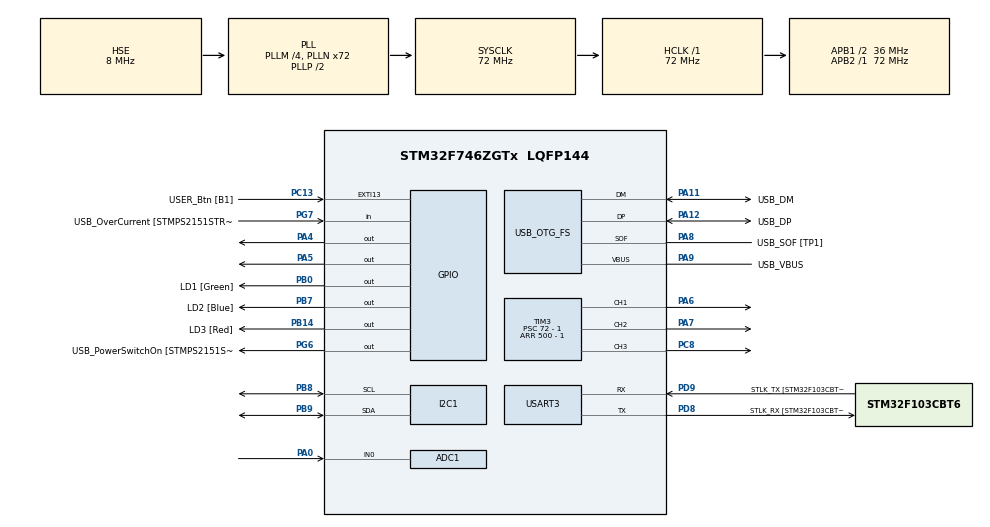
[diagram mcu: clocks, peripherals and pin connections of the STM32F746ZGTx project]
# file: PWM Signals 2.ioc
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ADC1.Channel-1\#ChannelRegularConversion=ADC_CHANNEL_0
ADC1.ContinuousConvMode=DISABLE
ADC1.NbrOfConversion=1
ADC1.NbrOfConversionFlag=1
ADC1.Rank-1\#ChannelRegularConversion=1
ADC1.SamplingTime-1\#ChannelRegularConversion=ADC_SAMPLETIME_3CYCLES
ADC1.master=1
I2C1.Timing=0x00808CD2
Mcu.Family=STM32F7
Mcu.Name=STM32F746ZGTx
Mcu.Package=LQFP144
NVIC.ADC_IRQn=true\:0\:0\:false\:false\:true\:true\:true\:true
NVIC.PriorityGroup=NVIC_PRIORITYGROUP_4
NVIC.TIM8_TRG_COM_TIM14_IRQn=true\:0\:0\:false\:false\:true\:true\:true\:true
PA0/WKUP.Signal=ADCx_IN0
PA1.GPIO_Label=RMII_REF_CLK [LAN8742A-CZ-TR_REFCLK0]
PA1.Signal=ETH_REF_CLK
PA10.GPIO_Label=USB_ID
PA10.Signal=USB_OTG_FS_ID
PA11.GPIO_Label=USB_DM
PA11.Mode=Device_Only
PA11.Signal=USB_OTG_FS_DM
PA12.GPIO_Label=USB_DP
PA12.Mode=Device_Only
PA12.Signal=USB_OTG_FS_DP
PA13.GPIO_Label=TMS
PA13.Mode=Serial_Wire
PA13.Signal=SYS_JTMS-SWDIO
PA14.GPIO_Label=TCK
PA14.Mode=Serial_Wire
PA14.Signal=SYS_JTCK-SWCLK
PA2.GPIO_Label=RMII_MDIO [LAN8742A-CZ-TR_MDIO]
PA2.Signal=ETH_MDIO
PA4.Signal=GPIO_Output
PA5.Signal=GPIO_Output
PA6.Signal=S_TIM3_CH1
PA7.Signal=S_TIM3_CH2
PA8.GPIO_Label=USB_SOF [TP1]
PA8.Mode=Activate_SOF_FS
PA8.Signal=USB_OTG_FS_SOF
PA9.GPIO_Label=USB_VBUS
PA9.Mode=Activate_VBUS
PA9.Signal=USB_OTG_FS_VBUS
PB0.GPIO_Label=LD1 [Green]
PB0.Signal=GPIO_Output
PB13.GPIO_Label=RMII_TXD1 [LAN8742A-CZ-TR_TXD1]
PB13.Signal=ETH_TXD1
PB14.GPIO_Label=LD3 [Red]
PB14.Signal=GPIO_Output
PB3.GPIO_Label=SW0
PB3.Signal=SYS_JTDO-SWO
PB7.GPIO_Label=LD2 [Blue]
PB7.Signal=GPIO_Output
PB8.Mode=I2C
PB8.Signal=I2C1_SCL
PB9.Mode=I2C
PB9.Signal=I2C1_SDA
PC1.GPIO_Label=RMII_MDC [LAN8742A-CZ-TR_MDC]
PC1.Signal=ETH_MDC
PC13.GPIO_Label=USER_Btn [B1]
PC13.Signal=GPXTI13
PC14/OSC32_IN.Mode=LSE-External-Oscillator
PC14/OSC32_IN.Signal=RCC_OSC32_IN
PC15/OSC32_OUT.Mode=LSE-External-Oscillator
PC15/OSC32_OUT.Signal=RCC_OSC32_OUT
PC4.GPIO_Label=RMII_RXD0 [LAN8742A-CZ-TR_RXD0]
PC4.Signal=ETH_RXD0
PC5.GPIO_Label=RMII_RXD1 [LAN8742A-CZ-TR_RXD1]
PC5.Signal=ETH_RXD1
PC8.Signal=S_TIM3_CH3
PD8.GPIO_Label=STLK_RX [STM32F103CBT6_PA3]
PD8.GPIO_PuPd=GPIO_PULLUP
PD8.Mode=Asynchronous
PD8.Signal=USART3_TX
PD9.GPIO_Label=STLK_TX [STM32F103CBT6_PA2]
PD9.GPIO_PuPd=GPIO_PULLUP
PD9.Mode=Asynchronous
PD9.Signal=USART3_RX
PG11.GPIO_Label=RMII_TX_EN [LAN8742A-CZ-TR_TXEN]
PG11.Signal=ETH_TX_EN
PG13.GPIO_Label=RMII_TXD0 [LAN8742A-CZ-TR_TXD0]
PG13.Signal=ETH_TXD0
PG6.GPIO_Label=USB_PowerSwitchOn [STMPS2151STR_EN]
PG6.Signal=GPIO_Output
PG7.GPIO_Label=USB_OverCurrent [STMPS2151STR_FAULT]
PG7.Signal=GPIO_Input
PH0/OSC_IN.GPIO_Label=MCO [STM32F103CBT6_PA8]
PH0/OSC_IN.Mode=HSE-External-Clock-Source
PH0/OSC_IN.Signal=RCC_OSC_IN
PH1/OSC_OUT.Mode=HSE-External-Clock-Source
PH1/OSC_OUT.Signal=RCC_OSC_OUT
ProjectManager.HeapSize=0x200
ProjectManager.StackSize=0x400
ProjectManager.TargetToolchain=STM32CubeIDE
RCC.48MHZClocksFreq_Value=24000000
RCC.AHBFreq_Value=72000000
RCC.APB1CLKDivider=RCC_HCLK_DIV2
RCC.APB1Freq_Value=36000000
RCC.APB1TimFreq_Value=72000000
RCC.APB2Freq_Value=72000000
RCC.APB2TimFreq_Value=72000000
RCC.CortexFreq_Value=72000000
RCC.HCLKFreq_Value=72000000
RCC.HSE_VALUE=8000000
RCC.HSI_VALUE=16000000
RCC.PLLM=4
RCC.PLLMUL=RCC_PLL_MUL9
RCC.PLLN=72
RCC.PLLQ=3
RCC.PRESCALERUSB=RCC_USBCLKSOURCE_PLL_DIV1_5
RCC.SYSCLKFreq_VALUE=72000000
RCC.SYSCLKSource=RCC_SYSCLKSOURCE_PLLCLK
RCC.SYSCLKSourceVirtual=RCC_SYSCLKSOURCE_PLLCLK
RCC.USBFreq_Value=48000000
RCC.VCOOutputFreq_Value=144000000
SH.ADCx_IN0.0=ADC1_IN0,IN0
SH.S_TIM3_CH1.0=TIM3_CH1,PWM Generation1 CH1
SH.S_TIM3_CH2.0=TIM3_CH2,PWM Generation2 CH2
SH.S_TIM3_CH3.0=TIM3_CH3,PWM Generation3 CH3
TIM13.Period=1000-1
TIM13.Prescaler=72-1
TIM14.Period=500 - 1
TIM14.Prescaler=72 - 1
TIM3.AutoReloadPreload=TIM_AUTORELOAD_PRELOAD_ENABLE
TIM3.Channel-PWM\ Generation1\ CH1=TIM_CHANNEL_1
TIM3.Channel-PWM\ Generation2\ CH2=TIM_CHANNEL_2
TIM3.Channel-PWM\ Generation3\ CH3=TIM_CHANNEL_3
TIM3.CounterMode=TIM_COUNTERMODE_CENTERALIGNED3
TIM3.Period=500 - 1
TIM3.Prescaler=72 - 1
USART3.VirtualMode-Asynchronous=VM_ASYNC
USB_OTG_FS.VirtualMode=Device_Only
VP_TIM13_VS_ClockSourceINT.Mode=Enable_Timer
VP_TIM14_VS_ClockSourceINT.Mode=Enable_Timer
VP_TIM3_VS_ClockSourceINT.Mode=Internal
board=NUCLEO-F746ZG

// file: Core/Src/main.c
/* USER CODE BEGIN Header */
/**
  ******************************************************************************
  * @file           : main.c
  * @brief          : Main program body
  ******************************************************************************
  * @attention
  *
  * Copyright (c) 2025 STMicroelectronics.
  * All rights reserved.
  *
  * This software is licensed under terms that can be found in the LICENSE file
  * in the root directory of this software component.
  * If no LICENSE file comes with this software, it is provided AS-IS.
  *
  ******************************************************************************
  */
/* USER CODE END Header */
#include "main.h"

/* USER CODE BEGIN Includes */
#include "math.h"

/* USER CODE END Includes */

ADC_HandleTypeDef hadc1;

I2C_HandleTypeDef hi2c1;

TIM_HandleTypeDef htim3;
TIM_HandleTypeDef htim13;
TIM_HandleTypeDef htim14;

UART_HandleTypeDef huart3;

PCD_HandleTypeDef hpcd_USB_OTG_FS;

/* USER CODE BEGIN PV */
uint32_t last_tick = 0;
uint32_t timer_active = 0;
double DC_a;
double DC_b;
double DC_c;
float pi = 3.1415;
float freq_pwm = 0;
uint32_t N_speed = 0;
float U_RL = 0;
float U_PP = 0;
uint16_t sector;
uint16_t V_DC = 540;
float t = 0;
double T_s = 0.0004;
uint32_t ReadADC;

/* USER CODE END PV */

void SystemClock_Config(void);
static void MX_GPIO_Init(void);
static void MX_USB_OTG_FS_PCD_Init(void);
static void MX_TIM14_Init(void);
static void MX_TIM3_Init(void);
static void MX_TIM13_Init(void);
static void MX_ADC1_Init(void);
static void MX_I2C1_Init(void);
static void MX_USART3_UART_Init(void);

int main(void)
{

  /* MCU Configuration--------------------------------------------------------*/

  /* Reset of all peripherals, Initializes the Flash interface and the Systick. */
  HAL_Init();

  /* Configure the system clock */
  SystemClock_Config();

  /* Initialize all configured peripherals */
  MX_GPIO_Init();
  MX_USB_OTG_FS_PCD_Init();
  MX_TIM14_Init();
  MX_TIM3_Init();
  MX_TIM13_Init();
  MX_ADC1_Init();
  MX_I2C1_Init();
  MX_USART3_UART_Init();
  /* USER CODE BEGIN 2 */

  HAL_GPIO_TogglePin(GPIOB, GPIO_PIN_14);
  HAL_GPIO_WritePin(GPIOA, GPIO_PIN_4, GPIO_PIN_SET);
  /*
  HAL_TIM_Base_Start(&htim13);
  HAL_TIM_Base_Start_IT(&htim14);
  HAL_TIM_PWM_Start(&htim3, TIM_CHANNEL_1);
  HAL_TIM_PWM_Start(&htim3, TIM_CHANNEL_2);
  HAL_TIM_PWM_Start(&htim3, TIM_CHANNEL_3);
  */

  /* USER CODE END 2 */

  /* Infinite loop */
  /* USER CODE BEGIN WHILE */
  while (1)
  {
	  HAL_ADC_Start_IT(&hadc1);
	 // HAL_ADC_PollForConversion(&hadc1,1000);
	 // HAL_ADC_Stop_IT(&hadc1);
	  HAL_Delay(1000);
	//  HAL_ADC_Start(&hadc1);
	 //
	 //     readADC = HAL_ADC_GetValue(&hadc1);
	 //
	 //     HAL_Delay(1000);

    /* USER CODE END WHILE */

  }
}

void SystemClock_Config(void)
{
  RCC_OscInitTypeDef RCC_OscInitStruct = {0};
  RCC_ClkInitTypeDef RCC_ClkInitStruct = {0};

  /** Configure LSE Drive Capability
  */
  HAL_PWR_EnableBkUpAccess();

  /** Configure the main internal regulator output voltage
  */
  __HAL_RCC_PWR_CLK_ENABLE();
  __HAL_PWR_VOLTAGESCALING_CONFIG(PWR_REGULATOR_VOLTAGE_SCALE3);

  /** Initializes the RCC Oscillators according to the specified parameters
  * in the RCC_OscInitTypeDef structure.
  */
  RCC_OscInitStruct.OscillatorType = RCC_OSCILLATORTYPE_HSE;
  RCC_OscInitStruct.HSEState = RCC_HSE_BYPASS;
  RCC_OscInitStruct.PLL.PLLState = RCC_PLL_ON;
  RCC_OscInitStruct.PLL.PLLSource = RCC_PLLSOURCE_HSE;
  RCC_OscInitStruct.PLL.PLLM = 4;
  RCC_OscInitStruct.PLL.PLLN = 72;
  RCC_OscInitStruct.PLL.PLLP = RCC_PLLP_DIV2;
  RCC_OscInitStruct.PLL.PLLQ = 3;
  if (HAL_RCC_OscConfig(&RCC_OscInitStruct) != HAL_OK)
  {
    Error_Handler();
  }

  /** Initializes the CPU, AHB and APB buses clocks
  */
  RCC_ClkInitStruct.ClockType = RCC_CLOCKTYPE_HCLK|RCC_CLOCKTYPE_SYSCLK
                              |RCC_CLOCKTYPE_PCLK1|RCC_CLOCKTYPE_PCLK2;
  RCC_ClkInitStruct.SYSCLKSource = RCC_SYSCLKSOURCE_PLLCLK;
  RCC_ClkInitStruct.AHBCLKDivider = RCC_SYSCLK_DIV1;
  RCC_ClkInitStruct.APB1CLKDivider = RCC_HCLK_DIV2;
  RCC_ClkInitStruct.APB2CLKDivider = RCC_HCLK_DIV1;

  if (HAL_RCC_ClockConfig(&RCC_ClkInitStruct, FLASH_LATENCY_2) != HAL_OK)
  {
    Error_Handler();
  }
}

static void MX_ADC1_Init(void)
{

  ADC_ChannelConfTypeDef sConfig = {0};

  /** Configure the global features of the ADC (Clock, Resolution, Data Alignment and number of conversion)
  */
  hadc1.Instance = ADC1;
  hadc1.Init.ClockPrescaler = ADC_CLOCK_SYNC_PCLK_DIV2;
  hadc1.Init.Resolution = ADC_RESOLUTION_12B;
  hadc1.Init.ScanConvMode = ADC_SCAN_DISABLE;
  hadc1.Init.ContinuousConvMode = DISABLE;
  hadc1.Init.DiscontinuousConvMode = DISABLE;
  hadc1.Init.ExternalTrigConvEdge = ADC_EXTERNALTRIGCONVEDGE_NONE;
  hadc1.Init.ExternalTrigConv = ADC_SOFTWARE_START;
  hadc1.Init.DataAlign = ADC_DATAALIGN_RIGHT;
  hadc1.Init.NbrOfConversion = 1;
  hadc1.Init.DMAContinuousRequests = DISABLE;
  hadc1.Init.EOCSelection = ADC_EOC_SINGLE_CONV;
  if (HAL_ADC_Init(&hadc1) != HAL_OK)
  {
    Error_Handler();
  }

  /** Configure for the selected ADC regular channel its corresponding rank in the sequencer and its sample time.
  */
  sConfig.Channel = ADC_CHANNEL_0;
  sConfig.Rank = ADC_REGULAR_RANK_1;
  sConfig.SamplingTime = ADC_SAMPLETIME_3CYCLES;
  if (HAL_ADC_ConfigChannel(&hadc1, &sConfig) != HAL_OK)
  {
    Error_Handler();
  }

}

static void MX_I2C1_Init(void)
{

  hi2c1.Instance = I2C1;
  hi2c1.Init.Timing = 0x00808CD2;
  hi2c1.Init.OwnAddress1 = 0;
  hi2c1.Init.AddressingMode = I2C_ADDRESSINGMODE_7BIT;
  hi2c1.Init.DualAddressMode = I2C_DUALADDRESS_DISABLE;
  hi2c1.Init.OwnAddress2 = 0;
  hi2c1.Init.OwnAddress2Masks = I2C_OA2_NOMASK;
  hi2c1.Init.GeneralCallMode = I2C_GENERALCALL_DISABLE;
  hi2c1.Init.NoStretchMode = I2C_NOSTRETCH_DISABLE;
  if (HAL_I2C_Init(&hi2c1) != HAL_OK)
  {
    Error_Handler();
  }

  /** Configure Analogue filter
  */
  if (HAL_I2CEx_ConfigAnalogFilter(&hi2c1, I2C_ANALOGFILTER_ENABLE) != HAL_OK)
  {
    Error_Handler();
  }

  /** Configure Digital filter
  */
  if (HAL_I2CEx_ConfigDigitalFilter(&hi2c1, 0) != HAL_OK)
  {
    Error_Handler();
  }

}

static void MX_TIM3_Init(void)
{

  TIM_ClockConfigTypeDef sClockSourceConfig = {0};
  TIM_MasterConfigTypeDef sMasterConfig = {0};
  TIM_OC_InitTypeDef sConfigOC = {0};

  htim3.Instance = TIM3;
  htim3.Init.Prescaler = 7200000 - 1;
  htim3.Init.CounterMode = TIM_COUNTERMODE_CENTERALIGNED3;
  htim3.Init.Period = 500 - 1;
  htim3.Init.ClockDivision = TIM_CLOCKDIVISION_DIV1;
  htim3.Init.AutoReloadPreload = TIM_AUTORELOAD_PRELOAD_ENABLE;
  if (HAL_TIM_Base_Init(&htim3) != HAL_OK)
  {
    Error_Handler();
  }
  sClockSourceConfig.ClockSource = TIM_CLOCKSOURCE_INTERNAL;
  if (HAL_TIM_ConfigClockSource(&htim3, &sClockSourceConfig) != HAL_OK)
  {
    Error_Handler();
  }
  if (HAL_TIM_PWM_Init(&htim3) != HAL_OK)
  {
    Error_Handler();
  }
  sMasterConfig.MasterOutputTrigger = TIM_TRGO_RESET;
  sMasterConfig.MasterSlaveMode = TIM_MASTERSLAVEMODE_DISABLE;
  if (HAL_TIMEx_MasterConfigSynchronization(&htim3, &sMasterConfig) != HAL_OK)
  {
    Error_Handler();
  }
  sConfigOC.OCMode = TIM_OCMODE_PWM1;
  sConfigOC.Pulse = 0;
  sConfigOC.OCPolarity = TIM_OCPOLARITY_HIGH;
  sConfigOC.OCFastMode = TIM_OCFAST_DISABLE;
  if (HAL_TIM_PWM_ConfigChannel(&htim3, &sConfigOC, TIM_CHANNEL_1) != HAL_OK)
  {
    Error_Handler();
  }
  if (HAL_TIM_PWM_ConfigChannel(&htim3, &sConfigOC, TIM_CHANNEL_2) != HAL_OK)
  {
    Error_Handler();
  }
  if (HAL_TIM_PWM_ConfigChannel(&htim3, &sConfigOC, TIM_CHANNEL_3) != HAL_OK)
  {
    Error_Handler();
  }
  HAL_TIM_MspPostInit(&htim3);

}

static void MX_TIM13_Init(void)
{

  htim13.Instance = TIM13;
  htim13.Init.Prescaler = 72-1;
  htim13.Init.CounterMode = TIM_COUNTERMODE_UP;
  htim13.Init.Period = 1000-1;
  htim13.Init.ClockDivision = TIM_CLOCKDIVISION_DIV1;
  htim13.Init.AutoReloadPreload = TIM_AUTORELOAD_PRELOAD_DISABLE;
  if (HAL_TIM_Base_Init(&htim13) != HAL_OK)
  {
    Error_Handler();
  }

}

static void MX_TIM14_Init(void)
{

  htim14.Instance = TIM14;
  htim14.Init.Prescaler = 7200000 - 1;
  htim14.Init.CounterMode = TIM_COUNTERMODE_UP;
  htim14.Init.Period = 500 - 1;
  htim14.Init.ClockDivision = TIM_CLOCKDIVISION_DIV1;
  htim14.Init.AutoReloadPreload = TIM_AUTORELOAD_PRELOAD_DISABLE;
  if (HAL_TIM_Base_Init(&htim14) != HAL_OK)
  {
    Error_Handler();
  }

}

static void MX_USART3_UART_Init(void)
{

  huart3.Instance = USART3;
  huart3.Init.BaudRate = 115200;
  huart3.Init.WordLength = UART_WORDLENGTH_8B;
  huart3.Init.StopBits = UART_STOPBITS_1;
  huart3.Init.Parity = UART_PARITY_NONE;
  huart3.Init.Mode = UART_MODE_TX_RX;
  huart3.Init.HwFlowCtl = UART_HWCONTROL_NONE;
  huart3.Init.OverSampling = UART_OVERSAMPLING_16;
  huart3.Init.OneBitSampling = UART_ONE_BIT_SAMPLE_DISABLE;
  huart3.AdvancedInit.AdvFeatureInit = UART_ADVFEATURE_NO_INIT;
  if (HAL_UART_Init(&huart3) != HAL_OK)
  {
    Error_Handler();
  }

}

static void MX_USB_OTG_FS_PCD_Init(void)
{

  hpcd_USB_OTG_FS.Instance = USB_OTG_FS;
  hpcd_USB_OTG_FS.Init.dev_endpoints = 6;
  hpcd_USB_OTG_FS.Init.speed = PCD_SPEED_FULL;
  hpcd_USB_OTG_FS.Init.dma_enable = DISABLE;
  hpcd_USB_OTG_FS.Init.phy_itface = PCD_PHY_EMBEDDED;
  hpcd_USB_OTG_FS.Init.Sof_enable = ENABLE;
  hpcd_USB_OTG_FS.Init.low_power_enable = DISABLE;
  hpcd_USB_OTG_FS.Init.lpm_enable = DISABLE;
  hpcd_USB_OTG_FS.Init.vbus_sensing_enable = ENABLE;
  hpcd_USB_OTG_FS.Init.use_dedicated_ep1 = DISABLE;
  if (HAL_PCD_Init(&hpcd_USB_OTG_FS) != HAL_OK)
  {
    Error_Handler();
  }

}

static void MX_GPIO_Init(void)
{
  GPIO_InitTypeDef GPIO_InitStruct = {0};

  /* GPIO Ports Clock Enable */
  __HAL_RCC_GPIOC_CLK_ENABLE();
  __HAL_RCC_GPIOH_CLK_ENABLE();
  __HAL_RCC_GPIOA_CLK_ENABLE();
  __HAL_RCC_GPIOB_CLK_ENABLE();
  __HAL_RCC_GPIOD_CLK_ENABLE();
  __HAL_RCC_GPIOG_CLK_ENABLE();

  /*Configure GPIO pin Output Level */
  HAL_GPIO_WritePin(GPIOA, GPIO_PIN_4|GPIO_PIN_5, GPIO_PIN_RESET);

  /*Configure GPIO pin Output Level */
  HAL_GPIO_WritePin(GPIOB, LD1_Pin|LD3_Pin|LD2_Pin, GPIO_PIN_RESET);

  /*Configure GPIO pin Output Level */
  HAL_GPIO_WritePin(USB_PowerSwitchOn_GPIO_Port, USB_PowerSwitchOn_Pin, GPIO_PIN_RESET);

  /*Configure GPIO pin : USER_Btn_Pin */
  GPIO_InitStruct.Pin = USER_Btn_Pin;
  GPIO_InitStruct.Mode = GPIO_MODE_IT_RISING;
  GPIO_InitStruct.Pull = GPIO_NOPULL;
  HAL_GPIO_Init(USER_Btn_GPIO_Port, &GPIO_InitStruct);

  /*Configure GPIO pins : RMII_MDC_Pin RMII_RXD0_Pin RMII_RXD1_Pin */
  GPIO_InitStruct.Pin = RMII_MDC_Pin|RMII_RXD0_Pin|RMII_RXD1_Pin;
  GPIO_InitStruct.Mode = GPIO_MODE_AF_PP;
  GPIO_InitStruct.Pull = GPIO_NOPULL;
  GPIO_InitStruct.Speed = GPIO_SPEED_FREQ_VERY_HIGH;
  GPIO_InitStruct.Alternate = GPIO_AF11_ETH;
  HAL_GPIO_Init(GPIOC, &GPIO_InitStruct);

  /*Configure GPIO pins : RMII_REF_CLK_Pin RMII_MDIO_Pin */
  GPIO_InitStruct.Pin = RMII_REF_CLK_Pin|RMII_MDIO_Pin;
  GPIO_InitStruct.Mode = GPIO_MODE_AF_PP;
  GPIO_InitStruct.Pull = GPIO_NOPULL;
  GPIO_InitStruct.Speed = GPIO_SPEED_FREQ_VERY_HIGH;
  GPIO_InitStruct.Alternate = GPIO_AF11_ETH;
  HAL_GPIO_Init(GPIOA, &GPIO_InitStruct);

  /*Configure GPIO pins : PA4 PA5 */
  GPIO_InitStruct.Pin = GPIO_PIN_4|GPIO_PIN_5;
  GPIO_InitStruct.Mode = GPIO_MODE_OUTPUT_PP;
  GPIO_InitStruct.Pull = GPIO_NOPULL;
  GPIO_InitStruct.Speed = GPIO_SPEED_FREQ_LOW;
  HAL_GPIO_Init(GPIOA, &GPIO_InitStruct);

  /*Configure GPIO pins : LD1_Pin LD3_Pin LD2_Pin */
  GPIO_InitStruct.Pin = LD1_Pin|LD3_Pin|LD2_Pin;
  GPIO_InitStruct.Mode = GPIO_MODE_OUTPUT_PP;
  GPIO_InitStruct.Pull = GPIO_NOPULL;
  GPIO_InitStruct.Speed = GPIO_SPEED_FREQ_LOW;
  HAL_GPIO_Init(GPIOB, &GPIO_InitStruct);

  /*Configure GPIO pin : RMII_TXD1_Pin */
  GPIO_InitStruct.Pin = RMII_TXD1_Pin;
  GPIO_InitStruct.Mode = GPIO_MODE_AF_PP;
  GPIO_InitStruct.Pull = GPIO_NOPULL;
  GPIO_InitStruct.Speed = GPIO_SPEED_FREQ_VERY_HIGH;
  GPIO_InitStruct.Alternate = GPIO_AF11_ETH;
  HAL_GPIO_Init(RMII_TXD1_GPIO_Port, &GPIO_InitStruct);

  /*Configure GPIO pin : USB_PowerSwitchOn_Pin */
  GPIO_InitStruct.Pin = USB_PowerSwitchOn_Pin;
  GPIO_InitStruct.Mode = GPIO_MODE_OUTPUT_PP;
  GPIO_InitStruct.Pull = GPIO_NOPULL;
  GPIO_InitStruct.Speed = GPIO_SPEED_FREQ_LOW;
  HAL_GPIO_Init(USB_PowerSwitchOn_GPIO_Port, &GPIO_InitStruct);

  /*Configure GPIO pin : USB_OverCurrent_Pin */
  GPIO_InitStruct.Pin = USB_OverCurrent_Pin;
  GPIO_InitStruct.Mode = GPIO_MODE_INPUT;
  GPIO_InitStruct.Pull = GPIO_NOPULL;
  HAL_GPIO_Init(USB_OverCurrent_GPIO_Port, &GPIO_InitStruct);

  /*Configure GPIO pins : RMII_TX_EN_Pin RMII_TXD0_Pin */
  GPIO_InitStruct.Pin = RMII_TX_EN_Pin|RMII_TXD0_Pin;
  GPIO_InitStruct.Mode = GPIO_MODE_AF_PP;
  GPIO_InitStruct.Pull = GPIO_NOPULL;
  GPIO_InitStruct.Speed = GPIO_SPEED_FREQ_VERY_HIGH;
  GPIO_InitStruct.Alternate = GPIO_AF11_ETH;
  HAL_GPIO_Init(GPIOG, &GPIO_InitStruct);

  /* USER CODE BEGIN MX_GPIO_Init_2 */

  // Enable GPIO Clocks
  __HAL_RCC_SYSCFG_CLK_ENABLE();

  // Configure Button (e.g., PC13 on Nucleo boards)
   GPIO_InitStruct.Pin = GPIO_PIN_13;
   GPIO_InitStruct.Mode = GPIO_MODE_IT_FALLING;  // Falling edge interrupt
   GPIO_InitStruct.Pull = GPIO_NOPULL;
   HAL_GPIO_Init(GPIOC, &GPIO_InitStruct);

   // Enable and set EXTI line 15_10 Interrupt to the lowest priority
   HAL_NVIC_SetPriority(EXTI15_10_IRQn, 2, 0);
   HAL_NVIC_EnableIRQ(EXTI15_10_IRQn);
  /* USER CODE END MX_GPIO_Init_2 */
}

/* USER CODE BEGIN 4 */

void HAL_GPIO_EXTI_Callback(uint16_t GPIO_Pin)    //Start and Stop button ITR
{
    if (GPIO_Pin == GPIO_PIN_13)
    {
    	if (HAL_GetTick() - last_tick > 100)  // 100 ms debounce
    	{
            last_tick = HAL_GetTick();
            HAL_GPIO_TogglePin(GPIOB, GPIO_PIN_0);  //Green led
            HAL_GPIO_TogglePin(GPIOB, GPIO_PIN_14); //Red led

            if (timer_active == 0)
            {
            	HAL_TIM_Base_Start(&htim13);
            	HAL_TIM_Base_Start_IT(&htim14);
                HAL_TIM_PWM_Start(&htim3, TIM_CHANNEL_1);
                HAL_TIM_PWM_Start(&htim3, TIM_CHANNEL_2);
                HAL_TIM_PWM_Start(&htim3, TIM_CHANNEL_3);
                HAL_GPIO_WritePin(GPIOA, GPIO_PIN_5, GPIO_PIN_SET);
                timer_active = 1;

            }
            else
            {
            	HAL_TIM_Base_Stop(&htim13);
            	HAL_TIM_Base_Stop_IT(&htim14);
                HAL_TIM_PWM_Stop(&htim3, TIM_CHANNEL_1);
                HAL_TIM_PWM_Stop(&htim3, TIM_CHANNEL_2);
                HAL_TIM_PWM_Stop(&htim3, TIM_CHANNEL_3);
                HAL_GPIO_WritePin(GPIOA, GPIO_PIN_5, GPIO_PIN_RESET);
                timer_active = 0;
            }
    	}
    }
}

void EXTI15_10_IRQHandler(void)   //Enables the button ITR
{
  HAL_GPIO_EXTI_IRQHandler(GPIO_PIN_13);
}

/*
void HAL_GPIO_EXTI_Callback(uint16_t GPIO_Pin)      //Button ITR to change speed and calculate frequency
{
  if (GPIO_Pin == GPIO_PIN_13)  // Check if the correct button
  	  {
   	   	   N_speed += 50; // Change PWM duty cycle by +10%, wrap around at 100%
            	  	if (N_speed > 1426) N_speed = 200;  // Resets Speed

            	  	freq_pwm = 4*N_speed/120;
         U_RL = freq_pwm*8;
         U_PP = U_RL*sqrt(2)/sqrt(3);

         __HAL_TIM_SET_PRESCALER(&htim13, (72 * 1000000)/(htim13.Init.Period*freq_pwm)); // New prescaler
         __HAL_TIM_SET_COUNTER(&htim13, 0);  // Reset counter

  }
}
*/

void HAL_ADC_ConvCpltCallback(ADC_HandleTypeDef* hadc)
{
    if (hadc->Instance == ADC1)
    {
        uint32_t readADC = HAL_ADC_GetValue(hadc);
         N_speed = readADC * 1425/4096; // Calculate new speed based on readADC

         freq_pwm = 4*N_speed/120;
         U_RL = freq_pwm*8;
         U_PP = U_RL*sqrt(2)/sqrt(3);

         __HAL_TIM_SET_PRESCALER(&htim13, (72 * 1000000)/(htim13.Init.Period*freq_pwm)); // New prescaler
         //__HAL_TIM_SET_COUNTER(&htim13, 0);  // Reset counter
    }
}

// Callback: timer has rolled over
void HAL_TIM_PeriodElapsedCallback(TIM_HandleTypeDef *htim)      //Timer ITR to calculate and change the duty cycle
{
  // Check which version of the timer triggered this callback and toggle LED
  if (htim == &htim14 )
  {
	  //   __HAL_TIM_GET_COUNTER(&htim13)
	  	  	 float timestamp = __HAL_TIM_GET_COUNTER(&htim13); // tager nuværende tidspunkt i time ticks
	  	  	  t = timestamp / ((htim13.Init.Period + 1)*freq_pwm);
	  	  	 float s_a = U_PP*sinf(2.0*pi*freq_pwm*t);
	 		 float s_b = U_PP*sinf(2.0*pi*freq_pwm*t-2.0*pi/3.0);
	 		 float s_c = U_PP*sinf(2.0*pi*freq_pwm*t+2.0*pi/3.0);

	 		  //Clarke transformation
	 		  float s_alpha = (2.0/3.0)*(s_a - (1.0/2.0)*(s_b + s_c));
	 		  float s_beta = (sqrtf(3.0)/3.0)*(s_b - s_c);

	 		  //Space Vector Coordinates Calculator
	 		  float SV_theta = atan2f(s_beta, s_alpha);
	 		  if (SV_theta < 0.0)
	 		  {
	 		  	SV_theta = SV_theta + 2.0*pi;
	 		  }

	 		  float SV_m = sqrtf(s_alpha*s_alpha+s_beta*s_beta);

	 		  //Modulation Index Calculator
	 		  float M = SV_m/(V_DC/sqrt(3.0));

	 		  //Sector Calculator
	 		  if (0.0 <= SV_theta && SV_theta < pi/3.0)
	 		  {
	 			  sector = 1;
	 		  }
	 		  else if (pi/3.0 <= SV_theta && SV_theta < 2.0*pi/3.0)
	 		  {
	 			  sector = 2;
	 		  }
	 		  else if (2.0*pi/3.0 <= SV_theta && SV_theta < 3.0*pi/3.0)
	 		  {
	 			  sector = 3;
	 		  }
	 		  else if (3.0*pi/3.0 <= SV_theta && SV_theta < 4.0*pi/3.0)
	 		  {
	 			  sector = 4;
	 		  }
	 		  else if (4*pi/3 <= SV_theta && SV_theta < 5.0*pi/3.0)
	 		  {
	 			  sector = 5;
	 		  }
	 		  else if (5.0*pi/3.0 <= SV_theta && SV_theta < 6.0*pi/3.0)
	 		  {
	 			  sector = 6;
	 		  }

	 		  float sector_theta = SV_theta - (sector-1.0)*(pi/3.0);

	 		  //Dwell Time Calculator
	 		  float T_1 = T_s*M*sinf(pi/3.0 - sector_theta);
	 		  float T_2 = T_s*M*sinf(sector_theta);
	 		  float T_0 = T_s - (T_1 + T_2);

	 		  if (sector == 1)
	 		  {
	 			DC_a = (2*(T_1 + T_2) + T_0)/(2*T_s) * 100;
	 			DC_b = (2*T_2 + T_0)/(2*T_s) * 100;
	 			DC_c = T_0/(2*T_s) * 100;
	 		  }
	 		  else if (sector == 2)
	 		  {
	 			DC_a = (2*T_1 + T_0)/(2*T_s) * 100;
	 			DC_b = (2*(T_1 + T_2) + T_0)/(2*T_s) * 100;
	 			DC_c = T_0/(2*T_s) * 100;
	 		  }
	 		  else if (sector == 3)
	 		  {
	 			DC_a = T_0/(2*T_s) * 100;
	 			DC_b = (2*(T_1 + T_2) + T_0)/(2*T_s) * 100;
	 			DC_c = (2*T_2 + T_0)/(2*T_s) * 100;
	 		  }
	 		  else if (sector == 4)
	 		  {
	 			DC_a = T_0/(2*T_s) * 100;
	 			DC_b = (2*T_1 + T_0)/(2*T_s) * 100;
	 			DC_c = (2*(T_1 + T_2) + T_0)/(2*T_s) * 100;
	 		  }
	 		  else if (sector == 5)
	 		  {
	 			DC_a = (2*T_1 + T_0)/(2*T_s) * 100;
	 			DC_b = T_0/(2*T_s) * 100;
	 			DC_c = (2*(T_1 + T_2) + T_0)/(2*T_s) * 100;
	 		  }
	 		  else if (sector == 6)
	 		  {
	 		  	DC_a = (2*(T_1 + T_2) + T_0)/(2*T_s) * 100;
	 		  	DC_b = T_0/(2*T_s) * 100;
	 		  	DC_c = (2*T_1 + T_0)/(2*T_s) * 100;
	 		  }
	 		  __HAL_TIM_SET_COMPARE(&htim3, TIM_CHANNEL_1, (DC_a * (htim3.Init.Period + 1)) / 100);
	 		  __HAL_TIM_SET_COMPARE(&htim3, TIM_CHANNEL_2, (DC_b * (htim3.Init.Period + 1)) / 100);
	 		  __HAL_TIM_SET_COMPARE(&htim3, TIM_CHANNEL_3, (DC_c * (htim3.Init.Period + 1)) / 100);

  }
}

/* USER CODE END 4 */

void Error_Handler(void)
{
  __disable_irq();
  while (1)
  {
  }
}
